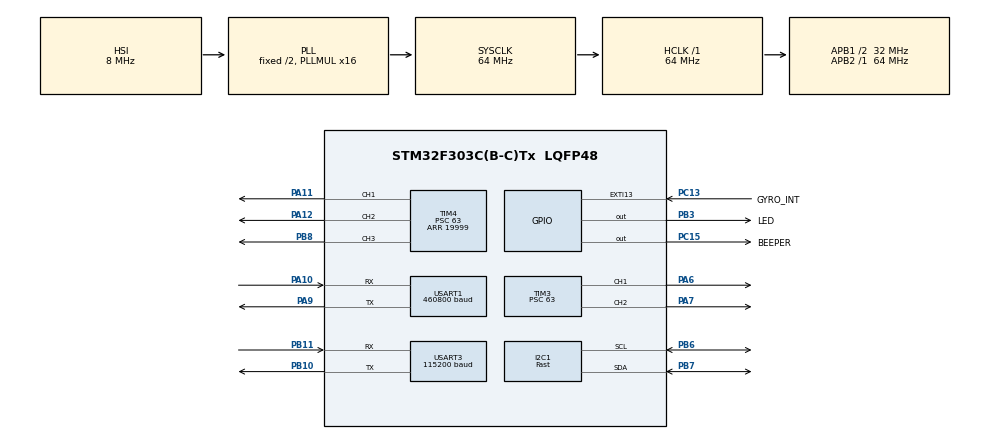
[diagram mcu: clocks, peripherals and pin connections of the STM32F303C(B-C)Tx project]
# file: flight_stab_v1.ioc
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I2C1.I2C_Speed_Mode=I2C_Fast
I2C1.Speed=50
I2C1.Timing=0x00000693
Mcu.Family=STM32F3
Mcu.Name=STM32F303C(B-C)Tx
Mcu.Package=LQFP48
NVIC.EXTI15_10_IRQn=true\:0\:0\:false\:false\:true\:true\:true
NVIC.PriorityGroup=NVIC_PRIORITYGROUP_4
NVIC.TIM6_DAC_IRQn=true\:0\:0\:false\:false\:true\:true\:true
NVIC.USART3_IRQn=true\:0\:0\:false\:false\:false\:true\:false
PA10.Mode=Asynchronous
PA10.Signal=USART1_RX
PA11.GPIO_Speed=GPIO_SPEED_FREQ_MEDIUM
PA11.Signal=S_TIM4_CH1
PA12.GPIO_Speed=GPIO_SPEED_FREQ_MEDIUM
PA12.Signal=S_TIM4_CH2
PA6.Signal=S_TIM3_CH1
PA7.Signal=S_TIM3_CH2
PA9.Mode=Asynchronous
PA9.Signal=USART1_TX
PB10.Mode=Asynchronous
PB10.Signal=USART3_TX
PB11.Mode=Asynchronous
PB11.Signal=USART3_RX
PB3.GPIO_Label=LED
PB3.PinState=GPIO_PIN_SET
PB3.Signal=GPIO_Output
PB6.Mode=I2C
PB6.Signal=I2C1_SCL
PB7.Mode=I2C
PB7.Signal=I2C1_SDA
PB8.GPIO_Speed=GPIO_SPEED_FREQ_MEDIUM
PB8.Signal=S_TIM4_CH3
PC13.GPIO_Label=GYRO_INT
PC13.Signal=GPXTI13
PC15-OSC32_OUT.GPIO_Label=BEEPER
PC15-OSC32_OUT.Signal=GPIO_Output
ProjectManager.HeapSize=0x200
ProjectManager.StackSize=0x400
ProjectManager.TargetToolchain=STM32CubeIDE
RCC.AHBFreq_Value=64000000
RCC.APB1CLKDivider=RCC_HCLK_DIV2
RCC.APB1Freq_Value=32000000
RCC.APB1TimFreq_Value=64000000
RCC.APB2Freq_Value=64000000
RCC.APB2TimFreq_Value=64000000
RCC.CortexFreq_Value=64000000
RCC.HCLKFreq_Value=64000000
RCC.HSE_VALUE=8000000
RCC.HSI_VALUE=8000000
RCC.LSE_VALUE=32768
RCC.PLLMUL=RCC_PLL_MUL16
RCC.SYSCLKFreq_VALUE=64000000
RCC.SYSCLKSourceVirtual=RCC_SYSCLKSOURCE_PLLCLK
RCC.USBFreq_Value=64000000
SH.S_TIM3_CH1.0=TIM3_CH1,PWM Generation1 CH1
SH.S_TIM3_CH2.0=TIM3_CH2,PWM Generation2 CH2
SH.S_TIM4_CH1.0=TIM4_CH1,PWM Generation1 CH1
SH.S_TIM4_CH2.0=TIM4_CH2,PWM Generation2 CH2
SH.S_TIM4_CH3.0=TIM4_CH3,PWM Generation3 CH3
TIM3.Channel-PWM\ Generation1\ CH1=TIM_CHANNEL_1
TIM3.Channel-PWM\ Generation2\ CH2=TIM_CHANNEL_2
TIM3.Period=19999
TIM3.Prescaler=63
TIM3.Pulse-PWM\ Generation1\ CH1=1500
TIM3.Pulse-PWM\ Generation2\ CH2=1500
TIM4.Channel-PWM\ Generation1\ CH1=TIM_CHANNEL_1
TIM4.Channel-PWM\ Generation2\ CH2=TIM_CHANNEL_2
TIM4.Channel-PWM\ Generation3\ CH3=TIM_CHANNEL_3
TIM4.Period=19999
TIM4.Prescaler=63
TIM4.Pulse-PWM\ Generation1\ CH1=1500
TIM4.Pulse-PWM\ Generation2\ CH2=1500
TIM4.Pulse-PWM\ Generation3\ CH3=1500
TIM6.Prescaler=63999
USART1.BaudRate=460800
USART1.DMADisableonRxErrorParam=ADVFEATURE_DMA_DISABLEONRXERROR
USART1.VirtualMode-Asynchronous=VM_ASYNC
USART3.BaudRate=115200
USART3.Mode=MODE_RX
USART3.VirtualMode-Asynchronous=VM_ASYNC
VP_TIM6_VS_ClockSourceINT.Mode=Enable_Timer
VP_TIM6_VS_OPM.Mode=OPM_bit
board=custom

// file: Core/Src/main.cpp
/* USER CODE BEGIN Header */
/**
  ******************************************************************************
  * @file           : main.c
  * @brief          : Main program body
  ******************************************************************************
  * @attention
  *
  * <h2><center>&copy; Copyright (c) 2020 STMicroelectronics.
  * All rights reserved.</center></h2>
  *
  * This software component is licensed by ST under BSD 3-Clause license,
  * the "License"; You may not use this file except in compliance with the
  * License. You may obtain a copy of the License at:
  *                        opensource.org/licenses/BSD-3-Clause
  *
  ******************************************************************************
  */
/* USER CODE END Header */
#include "main.h"
#include "i2c.h"
#include "tim.h"
#include "usart.h"
#include "gpio.h"

/* USER CODE BEGIN Includes */
#include "servo.h"
#include "mpu.h"
#include "PIDlib.h"
extern "C" {
	#include "buzzer.h"
}
/* USER CODE END Includes */

/* USER CODE BEGIN PTD */

enum flighmode_type{
	FM_MAN,
	FM_STAB1,
	FM_STAB2
};
/* USER CODE END PTD */

/* USER CODE BEGIN PD */
#define RX_RB_SIZE 32	//rx ring buffer size

#define PID_FM1_ROLL_KP 0.1	//PIDs
#define PID_FM1_ROLL_KI 0.01
#define PID_FM1_ROLL_KD 0.1
#define PID_FM1_ROLL_WUM 100
#define PID_FM1_PITCH_KP 0.2
#define PID_FM1_PITCH_KI 0.02
#define PID_FM1_PITCH_KD 0.02
#define PID_FM1_PITCH_WUM 50
#define PID_FM1_YAW_KP 0.3
#define PID_FM1_YAW_KI 0.02
#define PID_FM1_YAW_KD 0.1
#define PID_FM1_YAW_WUM 50

#define PID_FM2_ROLL_KP 1
#define PID_FM2_ROLL_KI 0.08
#define PID_FM2_ROLL_KD 0.9
#define PID_FM2_ROLL_WUM 20
#define PID_FM2_PITCH_KP 1.5
#define PID_FM2_PITCH_KI 0.05
#define PID_FM2_PITCH_KD 0.25
#define PID_FM2_PITCH_WUM 25
#define PID_FM2_YAW_KP 2
#define PID_FM2_YAW_KI 0.1
#define PID_FM2_YAW_KD 0.6
#define PID_FM2_YAW_WUM 30

#define FLAP_STR 0.7

/* USER CODE END PD */

/* USER CODE BEGIN PM */
#define LED_ON HAL_GPIO_WritePin(LED_GPIO_Port, LED_Pin, GPIO_PIN_RESET)
#define LED_OFF HAL_GPIO_WritePin(LED_GPIO_Port, LED_Pin, GPIO_PIN_SET)
#define BEEPER_ON HAL_GPIO_WritePin(BEEPER_GPIO_Port, BEEPER_Pin, GPIO_PIN_SET)
#define BEEPER_OFF HAL_GPIO_WritePin(BEEPER_GPIO_Port, BEEPER_Pin, GPIO_PIN_RESET)
#define BEEPER_SET(__v__) HAL_GPIO_WritePin(BEEPER_GPIO_Port, BEEPER_Pin, __v__)
#define LIMIT_RC(__v__) if(__v__ > 2000) __v__=2000; if(__v__ < 1000) __v__=1000;
#define LIMIT_NORM(__v__) if(__v__ > 1) __v__=1; if(__v__ < -1) __v__=-1;

/* USER CODE END PM */

/* USER CODE BEGIN PV */

volatile unsigned char rx_rbuff[RX_RB_SIZE] = {0};
volatile uint8_t rx_rbuff_ptr = 0;
float rc_values[7] = {0, 0, 0, 0, 0, 0, 0};

volatile char byte_rdy=0, rc_new_rdy=0, mpu_ready=0;	//flags: new byte received, new RC values ready, new sensor data available

flighmode_type flightmode = FM_MAN;

/* USER CODE END PV */

void SystemClock_Config(void);

/* USER CODE BEGIN 0 */

void HAL_TIM_PeriodElapsedCallback(TIM_HandleTypeDef *htim){	//item in buzzer queue finished, process next
	buzzer_next();
}

void HAL_GPIO_EXTI_Callback(uint16_t GPIO_Pin) {	//GPIO interrupt - new data from gyro available to be read
	if (GPIO_Pin == GYRO_INT_Pin)
		mpu_ready = 1;
}

void USART3_IRQHandler(void){	//Usart IRQ, RC RX
    if (((USART3->ISR & USART_ISR_ORE) != 0U) && (((USART3->CR1 & USART_CR1_RXNEIE) != 0U)))
    	USART3->ICR = UART_CLEAR_OREF;

	if ( USART3->ISR & UART_IT_RXNE) {	//new byte received, add to ring buffer and set flag
		unsigned char tmp = (uint8_t)(USART3->RDR);
		rx_rbuff[rx_rbuff_ptr] = tmp;

		if(++rx_rbuff_ptr == RX_RB_SIZE)
			rx_rbuff_ptr = 0;

		byte_rdy = 1;
	}
	HAL_UART_IRQHandler(&huart3);
}

void ibus_parse(volatile uint8_t* rbuff, uint8_t rbuff_pos){	//try parsing data in ring buffer
	if((rbuff[rbuff_pos] != 0x20) || (rbuff[(rbuff_pos+1) & 0x1F] != 0x40))	//stop if header is not found
		return;

	uint8_t ptr;
	uint16_t chsum_calc = 0xFF9F;

	for(uint8_t i=2; i<30; i++){	//calculate checksum of data in buffer
		ptr = (rbuff_pos+i) & 0x1F;
		chsum_calc -= rbuff[ptr];
	}

	uint16_t chsum_recv = (rbuff[(rbuff_pos+31) & 0x1F] << 8) + rbuff[(rbuff_pos+30) & 0x1F];

	if(chsum_recv != chsum_calc)	//compare to received checksum
		return;

	rc_values[0] = ((float)((rbuff[(rbuff_pos+3) & 0x1F] << 8) + rbuff[(rbuff_pos+2) & 0x1F]) - 1500.0) / 500.0;	//data seems to be valid, accept and normalize (1000-2000) -> (-1,1)
	rc_values[1] = ((float)((rbuff[(rbuff_pos+5) & 0x1F] << 8) + rbuff[(rbuff_pos+4) & 0x1F]) - 1500.0) / 500.0;
	rc_values[2] = ((float)((rbuff[(rbuff_pos+7) & 0x1F] << 8) + rbuff[(rbuff_pos+6) & 0x1F]) - 1500.0) / 500.0;
	rc_values[3] = ((float)((rbuff[(rbuff_pos+9) & 0x1F] << 8) + rbuff[(rbuff_pos+8) & 0x1F]) - 1500.0) / 500.0;
	rc_values[4] = ((float)((rbuff[(rbuff_pos+11) & 0x1F] << 8) + rbuff[(rbuff_pos+10) & 0x1F]) - 1500.0) / 500.0;
	rc_values[5] = ((float)((rbuff[(rbuff_pos+13) & 0x1F] << 8) + rbuff[(rbuff_pos+12) & 0x1F]) - 1500.0) / 500.0;
	rc_values[6] = ((float)((rbuff[(rbuff_pos+15) & 0x1F] << 8) + rbuff[(rbuff_pos+14) & 0x1F]) - 1500.0) / 500.0;

	rc_new_rdy = 1;
}

void startup_tone(){
	LED_ON;
	buzzer_enqueue(BUZZER_ON, 10);
	buzzer_enqueue(BUZZER_OFF, 50);
	buzzer_enqueue(BUZZER_ON, 10);
	buzzer_enqueue(BUZZER_OFF, 50);
	buzzer_enqueue(BUZZER_ON, 10);
	buzzer_enqueue(BUZZER_OFF, 50);
	buzzer_enqueue(BUZZER_ON, 10);
	buzzer_enqueue(BUZZER_OFF, 50);
	buzzer_enqueue(BUZZER_ON, 10);
	buzzer_enqueue(BUZZER_OFF, 0);
	LED_OFF;
}

/* USER CODE END 0 */

int main(void)
{

  /* MCU Configuration--------------------------------------------------------*/

  /* Reset of all peripherals, Initializes the Flash interface and the Systick. */
  HAL_Init();

  /* Configure the system clock */
  SystemClock_Config();

  /* Initialize all configured peripherals */
  MX_GPIO_Init();
  MX_I2C1_Init();
  MX_TIM3_Init();
  MX_TIM4_Init();
  MX_TIM6_Init();
  MX_USART1_UART_Init();
  MX_USART3_UART_Init();
  /* USER CODE BEGIN 2 */
  HAL_TIM_PWM_Start(&htim3, TIM_CHANNEL_1);	//start PWM out for servos
  HAL_TIM_PWM_Start(&htim3, TIM_CHANNEL_2);
  HAL_TIM_PWM_Start(&htim4, TIM_CHANNEL_1);
  HAL_TIM_PWM_Start(&htim4, TIM_CHANNEL_2);
  HAL_TIM_PWM_Start(&htim4, TIM_CHANNEL_3);

  __HAL_UART_FLUSH_DRREGISTER(&huart3);

  startup_tone();

  Servo ser_ail_r(900, 2100, 1500, &(TIM3->CCR1));
  Servo ser_ail_l(900, 2100, 1500, &(TIM4->CCR3));
  Servo ser_ele(1000, 2000, 1511, &(TIM3->CCR2));
  Servo ser_rud(988, 1874, 1477, &(TIM4->CCR2));

  PID pid_roll;
  PID pid_pitch;
  PID pid_yaw;

  HAL_Delay(1000);	//wait for a while, let sensors start up (no need to rush, aircraft still moves after connecting battery)

  Mpu sensor(&hi2c1);	//initialize IMU
  sensor.mpu_set_power_cfg(0, POWER_DISABLE_TEMP, WAKEUP_FREQ_1_25HZ, CLKSRC_GYRO_X);
  sensor.mpu_set_lowpass(LPF_FREQ_98);
  sensor.mpu_set_gyro_range(GYRO_RANGE_2000_DEGS);
  sensor.mpu_set_accel_range(ACCEL_RANGE_8G);
  sensor.mpu_set_samplerate_div(4);
  sensor.mpu_set_interrupt(MPU_INT_HOLD | MPU_INT_CLEAR_READ_ANY, MPU_INT_SRC_DATA_READY);

  HAL_Delay(3200);	//wait some more, ESC startup tone generates movement
  buzzer_wait();

  LED_ON;
  buzzer_enqueue(BUZZER_ON, 50);
  buzzer_enqueue(BUZZER_OFF, 0);

  sensor.mpu_gyro_calibrate(128, GYRO_INT_GPIO_Port, GYRO_INT_Pin);	//calibrate gyro drift

  buzzer_enqueue(BUZZER_ON, 300);	//calibration done
  buzzer_enqueue(BUZZER_OFF, 20);
  buzzer_enqueue(BUZZER_ON, 100);
  buzzer_enqueue(BUZZER_OFF, 0);
  LED_OFF;

  __HAL_UART_FLUSH_DRREGISTER(&huart3);
  __HAL_UART_ENABLE_IT(&huart3, UART_IT_RXNE);	//start receiving data from RC RX
  /* USER CODE END 2 */

  /* Infinite loop */
  /* USER CODE BEGIN WHILE */
  while (1) {
	if(byte_rdy){	//new data received, try to decode
	byte_rdy = 0;
	if(rx_rbuff[rx_rbuff_ptr] == 0x20)
		ibus_parse(rx_rbuff, rx_rbuff_ptr);
	}

	if(rc_new_rdy){	//new RC data ready
		rc_new_rdy = 0;
		if(rc_values[5] < -0.8){		//switch flight modes
			if(flightmode != FM_MAN){
				flightmode = FM_MAN;
				buzzer_enqueue(BUZZER_ON, 150);
				buzzer_enqueue(BUZZER_OFF, 0);
			}
		} else if(rc_values[5] < 0.8){
			if(flightmode != FM_STAB1){
				flightmode = FM_STAB1;
				pid_roll.setPidAll(PID_FM1_ROLL_KP, PID_FM1_ROLL_KI, PID_FM1_ROLL_KD ,PID_FM1_ROLL_WUM);
				pid_pitch.setPidAll(PID_FM1_PITCH_KP, PID_FM1_PITCH_KI, PID_FM1_PITCH_KD, PID_FM1_PITCH_WUM);
				pid_yaw.setPidAll(PID_FM1_YAW_KP, PID_FM1_YAW_KI, PID_FM1_YAW_KD, PID_FM1_YAW_WUM);
				buzzer_enqueue(BUZZER_ON, 150);
				buzzer_enqueue(BUZZER_OFF, 50);
				buzzer_enqueue(BUZZER_ON, 150);
				buzzer_enqueue(BUZZER_OFF, 300);
			}
		} else
			if(flightmode != FM_STAB2){
				flightmode = FM_STAB2;
				pid_roll.setPidAll(PID_FM2_ROLL_KP, PID_FM2_ROLL_KI, PID_FM2_ROLL_KD, PID_FM2_ROLL_WUM);
				pid_pitch.setPidAll(PID_FM2_PITCH_KP, PID_FM2_PITCH_KI, PID_FM2_PITCH_KD, PID_FM2_PITCH_WUM);
				pid_yaw.setPidAll(PID_FM2_YAW_KP, PID_FM2_YAW_KI, PID_FM2_YAW_KD, PID_FM2_YAW_WUM);
				buzzer_enqueue(BUZZER_ON, 150);
				buzzer_enqueue(BUZZER_OFF, 50);
				buzzer_enqueue(BUZZER_ON, 150);
				buzzer_enqueue(BUZZER_OFF, 50);
				buzzer_enqueue(BUZZER_ON, 150);
				buzzer_enqueue(BUZZER_OFF, 0);
			}

		if(flightmode == FM_MAN){	//no stab. needed, apply input to outputs
			if(rc_values[4] > 0.5)	//flaperon
				ser_ail_l.set_norm(-rc_values[0] - FLAP_STR);	//apply flaps
			else
				ser_ail_l.set_norm(-rc_values[0]);		//no flaps
			ser_ele.set_norm(rc_values[1]);
			ser_rud.set_norm(-rc_values[3]);
			if(rc_values[4] > 0.5)	//flaperon
				ser_ail_r.set_norm(-rc_values[0] + FLAP_STR);
			else
				ser_ail_r.set_norm(-rc_values[0]);
		}
	}

	if(mpu_ready){	//new gyro data available
		mpu_ready = 0;

		float gyro[3];
		sensor.mpu_read_gyro_norm(gyro);	//read nortmalized data

		if(flightmode != FM_MAN){	//loop PID regulators, apply outputs
			ser_ail_l.set_norm(-pid_roll.update(rc_values[0] + (gyro[1]/100.0)));
			ser_ele.set_norm(pid_pitch.update(rc_values[1] - (gyro[0]/100)));
			ser_rud.set_norm(pid_yaw.update(-rc_values[3] - (gyro[2]/100.0)));
			ser_ail_r.set_norm(-pid_roll.update(rc_values[0] + (gyro[1]/100.0)));
		}
	}

    /* USER CODE END WHILE */

  }
}

void SystemClock_Config(void)
{
  RCC_OscInitTypeDef RCC_OscInitStruct = {0};
  RCC_ClkInitTypeDef RCC_ClkInitStruct = {0};
  RCC_PeriphCLKInitTypeDef PeriphClkInit = {0};

  /** Initializes the RCC Oscillators according to the specified parameters
  * in the RCC_OscInitTypeDef structure.
  */
  RCC_OscInitStruct.OscillatorType = RCC_OSCILLATORTYPE_HSI;
  RCC_OscInitStruct.HSIState = RCC_HSI_ON;
  RCC_OscInitStruct.HSICalibrationValue = RCC_HSICALIBRATION_DEFAULT;
  RCC_OscInitStruct.PLL.PLLState = RCC_PLL_ON;
  RCC_OscInitStruct.PLL.PLLSource = RCC_PLLSOURCE_HSI;
  RCC_OscInitStruct.PLL.PLLMUL = RCC_PLL_MUL16;
  if (HAL_RCC_OscConfig(&RCC_OscInitStruct) != HAL_OK)
  {
    Error_Handler();
  }
  /** Initializes the CPU, AHB and APB buses clocks
  */
  RCC_ClkInitStruct.ClockType = RCC_CLOCKTYPE_HCLK|RCC_CLOCKTYPE_SYSCLK
                              |RCC_CLOCKTYPE_PCLK1|RCC_CLOCKTYPE_PCLK2;
  RCC_ClkInitStruct.SYSCLKSource = RCC_SYSCLKSOURCE_PLLCLK;
  RCC_ClkInitStruct.AHBCLKDivider = RCC_SYSCLK_DIV1;
  RCC_ClkInitStruct.APB1CLKDivider = RCC_HCLK_DIV2;
  RCC_ClkInitStruct.APB2CLKDivider = RCC_HCLK_DIV1;

  if (HAL_RCC_ClockConfig(&RCC_ClkInitStruct, FLASH_LATENCY_2) != HAL_OK)
  {
    Error_Handler();
  }
  PeriphClkInit.PeriphClockSelection = RCC_PERIPHCLK_USART1|RCC_PERIPHCLK_USART3
                              |RCC_PERIPHCLK_I2C1;
  PeriphClkInit.Usart1ClockSelection = RCC_USART1CLKSOURCE_PCLK2;
  PeriphClkInit.Usart3ClockSelection = RCC_USART3CLKSOURCE_PCLK1;
  PeriphClkInit.I2c1ClockSelection = RCC_I2C1CLKSOURCE_HSI;
  if (HAL_RCCEx_PeriphCLKConfig(&PeriphClkInit) != HAL_OK)
  {
    Error_Handler();
  }
}

void Error_Handler(void)
{
}

/************************ (C) COPYRIGHT STMicroelectronics *****END OF FILE****/
